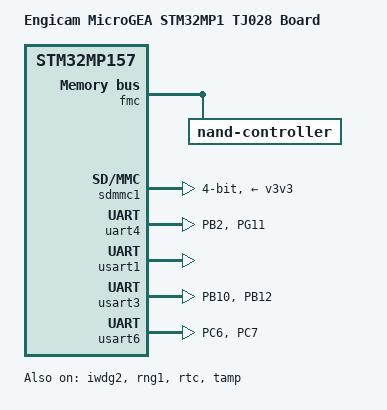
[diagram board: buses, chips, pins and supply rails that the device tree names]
// SPDX-License-Identifier: (GPL-2.0+ OR BSD-3-Clause)
/*
 * Copyright (C) STMicroelectronics 2019 - All Rights Reserved
 * Author: Alexandre Torgue <alexandre.torgue@st.com> for STMicroelectronics.
 */

/dts-v1/;

#include <dt-bindings/pinctrl/stm32-pinfunc.h>
#include <dt-bindings/clock/stm32mp1-clksrc.h>
#include <dt-bindings/soc/st,stm32-etzpc.h>
#include <dt-bindings/power/stm32mp1-power.h>
// DDR settings, used in relocation
#include "stm32mp15-512-mx.dtsi"

#include "stm32mp157.dtsi"
#include "stm32mp15xa.dtsi"
#include "stm32mp15xxac-pinctrl.dtsi"
#include "stm32mp15-ddr.dtsi"

/ {
	model = "Engicam MicroGEA STM32MP1 TJ028 Board";
	compatible = "engicam,microgea-stm32mp1-tj028",
		     "engicam,microgea-stm32mp1", "st,stm32mp157";

    aliases {
	    serial0 = &uart4;
	    serial1 = &usart3;
	    serial2 = &uart7;
    };

	chosen {
		stdout-path = "serial0:115200n8";
	};
	
	clocks {
	    clk_lse: clk-lse {
		    st,drive = < LSEDRV_MEDIUM_HIGH >;
	    };

	    clk_hse: clk-hse {
	    };
    };
};

&pinctrl {
	rtc_pins_mx: rtc_mx-0 {
		pins {
			pinmux = <STM32_PINMUX('I', 8, ANALOG)>; /* RTC_LSCO */
		};
	};

	uart4_pins_mx: uart4_mx-0 {
		pins1 {
			pinmux = <STM32_PINMUX('B', 2, AF8)>; /* UART4_RX */
			bias-disable;
		};
		pins2 {
			pinmux = <STM32_PINMUX('G', 11, AF6)>; /* UART4_TX */
			bias-disable;
			drive-push-pull;
			slew-rate = <0>;
		};
	};

	usart3_pins_mx: usart3_mx-0 {
		pins1 {
			pinmux = <STM32_PINMUX('B', 10, AF7)>; /* USART3_TX */
			bias-disable;
			drive-push-pull;
			slew-rate = <0>;
		};
		pins2 {
			pinmux = <STM32_PINMUX('B', 12, AF8)>; /* USART3_RX */
			bias-disable;
		};
	};

	usart6_pins_mx: usart6_mx-0 {
		pins1 {
			pinmux = <STM32_PINMUX('C', 6, AF7)>; /* USART6_TX */
			bias-disable;
			drive-push-pull;
			slew-rate = <0>;
		};
		pins2 {
			pinmux = <STM32_PINMUX('C', 7, AF7)>; /* USART6_RX */
			bias-disable;
		};
	};
};

&pinctrl_z {
	usart1_pins_z_mx: usart1_mx-0 {
		pins1 {
			pinmux = <STM32_PINMUX('Z', 6, AF7)>; /* USART1_RX */
			bias-disable;
		};
		pins2 {
			pinmux = <STM32_PINMUX('Z', 7, AF7)>; /* USART1_TX */
			bias-disable;
			drive-push-pull;
			slew-rate = <0>;
		};
	};
};

&rcc {
	st,csi-cal;
	st,hsi-cal;
	st,cal-sec = <60>;
	st,clksrc = <
		CLK_MPU_PLL1P
		CLK_AXI_PLL2P
		CLK_MCU_PLL3P
		CLK_PLL12_HSE
		CLK_PLL3_HSE
		CLK_PLL4_HSE
		CLK_RTC_LSE
		CLK_MCO1_DISABLED
		CLK_MCO2_DISABLED
	>;
	st,clkdiv = <
		1 		/*MPU*/
		1 		/*AXI*/
		0 		/*MCU*/
		1 		/*APB1*/
		1 		/*APB2*/
		1 		/*APB3*/
		1 		/*APB4*/
		1 		/*APB5*/
		0 		/*RTC*/
		0 		/*MCO1*/
		0 		/*MCO2*/
	>;
	st,pkcs = <
		CLK_CKPER_DISABLED
		CLK_FMC_ACLK
		CLK_ETH_PLL3Q
		CLK_SDMMC12_HSI
		CLK_STGEN_HSI
		CLK_USBPHY_HSE
		CLK_SPI2S1_DISABLED
		CLK_SPI2S23_DISABLED
		CLK_SPI45_DISABLED
		CLK_SPI6_DISABLED
		CLK_SDMMC3_HCLK2
		CLK_USBO_USBPHY
		CLK_ADC_PLL3Q
		CLK_CEC_DISABLED
		CLK_I2C12_HSI
		CLK_I2C46_PCLK5
		CLK_I2C35_CSI
		CLK_UART1_HSI
		CLK_UART24_HSE
		CLK_UART35_PCLK1
		CLK_UART6_PCLK2
		CLK_UART78_PCLK1
		CLK_SPDIF_DISABLED
		CLK_FDCAN_HSE
		CLK_SAI1_DISABLED
		CLK_SAI2_PLL3Q
		CLK_SAI3_DISABLED
		CLK_SAI4_DISABLED
		CLK_RNG1_CSI
		CLK_LPTIM1_DISABLED
		CLK_LPTIM23_DISABLED
		CLK_LPTIM45_DISABLED
	>;
	pll1:st,pll@0 {
		compatible = "st,stm32mp1-pll";
		reg = <0>;
		cfg = < 1 53 0 1 1 PQR(1,0,0) >;
	};
	pll2:st,pll@1 {
		compatible = "st,stm32mp1-pll";
		reg = <1>;
		cfg = < 1 43 1 0 0 PQR(1,1,1) >;
	};
	pll3:st,pll@2 {
		compatible = "st,stm32mp1-pll";
		reg = <2>;
		cfg = < 1 49 2 11 1 PQR(1,1,0) >;
	};
	pll4:st,pll@3 {
		compatible = "st,stm32mp1-pll";
		reg = <3>;
		cfg = < 1 49 9 8 1 PQR(0,1,0) >;
	};
};

&etzpc {
	st,decprot = <
	/*"Non Secured" peripherals*/
	DECPROT(STM32MP1_ETZPC_ADC_ID, DECPROT_NS_RW, DECPROT_UNLOCK)
	DECPROT(STM32MP1_ETZPC_DMA1_ID, DECPROT_NS_RW, DECPROT_UNLOCK)
	DECPROT(STM32MP1_ETZPC_DMAMUX_ID, DECPROT_NS_RW, DECPROT_UNLOCK)
	DECPROT(STM32MP1_ETZPC_ETH_ID, DECPROT_NS_RW, DECPROT_UNLOCK)
	DECPROT(STM32MP1_ETZPC_TT_FDCAN_ID, DECPROT_NS_RW, DECPROT_UNLOCK)
	//DECPROT(STM32MP1_ETZPC_FMC_ID, DECPROT_NS_RW, DECPROT_UNLOCK)
	DECPROT(STM32MP1_ETZPC_I2C2_ID, DECPROT_NS_RW, DECPROT_UNLOCK)
	DECPROT(STM32MP1_ETZPC_I2C4_ID, DECPROT_NS_RW, DECPROT_UNLOCK)
	DECPROT(STM32MP1_ETZPC_I2C5_ID, DECPROT_NS_RW, DECPROT_UNLOCK)
	DECPROT(STM32MP1_ETZPC_RNG1_ID, DECPROT_NS_RW, DECPROT_UNLOCK)
	DECPROT(STM32MP1_ETZPC_SAI2_ID, DECPROT_NS_RW, DECPROT_UNLOCK)
	DECPROT(STM32MP1_ETZPC_SDMMC3_ID, DECPROT_NS_RW, DECPROT_UNLOCK)
	DECPROT(STM32MP1_ETZPC_TIM12_ID, DECPROT_NS_RW, DECPROT_UNLOCK)
	DECPROT(STM32MP1_ETZPC_UART4_ID, DECPROT_NS_RW, DECPROT_UNLOCK)
	DECPROT(STM32MP1_ETZPC_UART7_ID, DECPROT_NS_RW, DECPROT_UNLOCK)
	DECPROT(STM32MP1_ETZPC_UART8_ID, DECPROT_NS_RW, DECPROT_UNLOCK)
	DECPROT(STM32MP1_ETZPC_USART1_ID, DECPROT_NS_RW, DECPROT_UNLOCK)
	DECPROT(STM32MP1_ETZPC_USART3_ID, DECPROT_NS_RW, DECPROT_UNLOCK)
	DECPROT(STM32MP1_ETZPC_USART6_ID, DECPROT_NS_RW, DECPROT_UNLOCK)
	DECPROT(STM32MP1_ETZPC_OTG_ID, DECPROT_NS_RW, DECPROT_UNLOCK)
	/*"Secured" peripherals*/
	DECPROT(STM32MP1_ETZPC_DDRCTRL_ID, DECPROT_S_RW, DECPROT_UNLOCK)
	DECPROT(STM32MP1_ETZPC_DDRPHYC_ID, DECPROT_S_RW, DECPROT_UNLOCK)
	DECPROT(STM32MP1_ETZPC_STGENC_ID, DECPROT_S_RW, DECPROT_UNLOCK)
	/*"Mcu Isolation" peripherals*/
	DECPROT(STM32MP1_ETZPC_DMA2_ID, DECPROT_MCU_ISOLATION, DECPROT_UNLOCK)
	>;

	secure-status = "okay";
};

&fmc {
	pinctrl-names = "default";
    pinctrl-0 = <&fmc_pins_a>; // Same pins as what engicam MX definition is
    status = "okay";

    nand-controller@4,0 {
        status = "okay";

        nand@0 {
            reg = <0>;
            nand-on-flash-bbt;
            #address-cells = <1>;
            #size-cells = <1>;
        };
    };
};


&iwdg2 {
	status = "okay";
	secure-status = "okay";
};

&rcc {
	status = "okay";
	secure-status = "okay";
};

&rng1 {
	status = "okay";
	secure-status = "okay";
};

&rtc {
	pinctrl-names = "default";
	pinctrl-0 = <&rtc_pins_mx>;
	status = "okay";
	secure-status = "okay";
};

&sdmmc1 {
	pinctrl-names = "default";
    pinctrl-0 = <&sdmmc1_b4_pins_a>;
    disable-wp;
    st,neg-edge;
    bus-width = <4>;
    vmmc-supply = <&v3v3>;
	status = "okay";
};

&tamp {
	status = "okay";
	secure-status = "okay";
};

&uart4 {
	pinctrl-names = "default";
	pinctrl-0 = <&uart4_pins_mx>;
	status = "okay";
};

&usart1 {
	pinctrl-names = "default";
	pinctrl-0 = <&usart1_pins_z_mx>;
	status = "okay";
};

&usart3 {
	pinctrl-names = "default";
	pinctrl-0 = <&usart3_pins_mx>;
	status = "okay";
};

&usart6 {
	pinctrl-names = "default";
	pinctrl-0 = <&usart6_pins_mx>;
	status = "okay";
};
